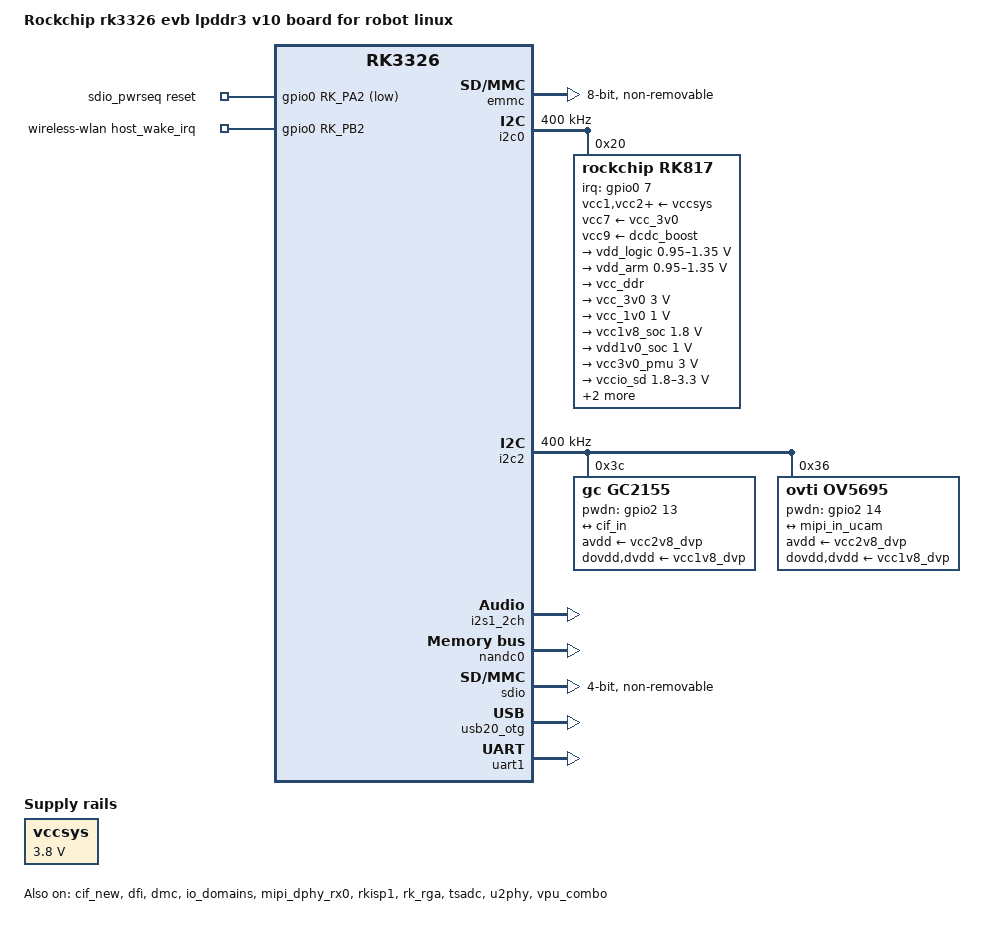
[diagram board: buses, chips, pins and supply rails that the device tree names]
// SPDX-License-Identifier: (GPL-2.0+ OR MIT)
/*
 * Copyright (c) 2018 Fuzhou Rockchip Electronics Co., Ltd
 */

/dts-v1/;
#include <dt-bindings/gpio/gpio.h>
#include <dt-bindings/pinctrl/rockchip.h>
#include "px30-robot-no-gpu.dtsi"

/ {
	model = "Rockchip rk3326 evb lpddr3 v10 board for robot linux";
	compatible = "rockchip,rk3326-evb-lp3-v10-robot-linux", "rockchip,rk3326";

	rk817-sound {
		compatible = "simple-audio-card";
		simple-audio-card,format = "i2s";
		simple-audio-card,name = "rockchip,rk817-codec";
		simple-audio-card,mclk-fs = <256>;
		simple-audio-card,cpu {
			sound-dai = <&i2s1_2ch>;
		};
		simple-audio-card,codec {
			sound-dai = <&rk817_codec>;
		};
	};

	sdio_pwrseq: sdio-pwrseq {
		compatible = "mmc-pwrseq-simple";
		/*clocks = <&rk817 1>;*/
		/*clock-names = "ext_clock";*/
		pinctrl-names = "default";
		pinctrl-0 = <&wifi_enable_h>;

		/*
		 * On the module itself this is one of these (depending
		 * on the actual card populated):
		 * - SDIO_RESET_L_WL_REG_ON
		 * - PDN (power down when low)
		 */
		reset-gpios = <&gpio0 RK_PA2 GPIO_ACTIVE_LOW>; /* GPIO3_A4 */
	};

	vccsys: vccsys {
		compatible = "regulator-fixed";
		regulator-name = "vcc3v8_sys";
		regulator-always-on;
		regulator-boot-on;
		regulator-min-microvolt = <3800000>;
		regulator-max-microvolt = <3800000>;
	};

	wireless-wlan {
		compatible = "wlan-platdata";
		wifi_chip_type = "AP6210";
		WIFI,host_wake_irq = <&gpio0 RK_PB2 GPIO_ACTIVE_HIGH>;
		status = "okay";
	};
};

&bus_apll {
	bus-supply = <&vdd_logic>;
	status = "okay";
};

&cif_new {
	status = "okay";

	port {
		cif_in: endpoint {
			remote-endpoint = <&gc2155_out>;
			vsync-active = <0>;
			hsync-active = <1>;
		};
	};
};

&cpu0 {
	cpu-supply = <&vdd_arm>;
};

&dfi {
	status = "okay";
};

&dmc {
	center-supply = <&vdd_logic>;
	status = "okay";
};

&emmc {
	bus-width = <8>;
	cap-mmc-highspeed;
	mmc-hs200-1_8v;
	supports-emmc;
	disable-wp;
	non-removable;
	num-slots = <1>;
	status = "okay";
};

&i2c0 {
	status = "okay";
	clock-frequency = <400000>;
	i2c-scl-rising-time-ns = <280>;
	i2c-scl-falling-time-ns = <16>;

	rk817: pmic@20 {
		compatible = "rockchip,rk817";
		reg = <0x20>;
		interrupt-parent = <&gpio0>;
		interrupts = <7 IRQ_TYPE_LEVEL_LOW>;
		pinctrl-names = "default", "pmic-sleep",
				"pmic-power-off", "pmic-reset";
		pinctrl-0 = <&pmic_int>;
		pinctrl-1 = <&soc_slppin_slp>, <&rk817_slppin_slp>;
		pinctrl-2 = <&soc_slppin_gpio>, <&rk817_slppin_pwrdn>;
		pinctrl-3 = <&soc_slppin_rst>, <&rk817_slppin_rst>;
		rockchip,system-power-controller;
		wakeup-source;
		#clock-cells = <1>;
		clock-output-names = "rk808-clkout1", "rk808-clkout2";
		//fb-inner-reg-idxs = <2>;
		/* 1: rst regs (default in codes), 0: rst the pmic */
		pmic-reset-func = <1>;

		vcc1-supply = <&vccsys>;
		vcc2-supply = <&vccsys>;
		vcc3-supply = <&vccsys>;
		vcc4-supply = <&vccsys>;
		vcc5-supply = <&vccsys>;
		vcc6-supply = <&vccsys>;
		vcc7-supply = <&vcc_3v0>;
		vcc8-supply = <&vccsys>;
		vcc9-supply = <&dcdc_boost>;

		pwrkey {
			status = "okay";
		};

		pinctrl_rk8xx: pinctrl_rk8xx {
			gpio-controller;
			#gpio-cells = <2>;

			rk817_ts_gpio1: rk817_ts_gpio1 {
				pins = "gpio_ts";
				function = "pin_fun1";
				/* output-low; */
				/* input-enable; */
			};

			rk817_gt_gpio2: rk817_gt_gpio2 {
				pins = "gpio_gt";
				function = "pin_fun1";
			};

			rk817_pin_ts: rk817_pin_ts {
				pins = "gpio_ts";
				function = "pin_fun0";
			};

			rk817_pin_gt: rk817_pin_gt {
				pins = "gpio_gt";
				function = "pin_fun0";
			};

			rk817_slppin_null: rk817_slppin_null {
				pins = "gpio_slp";
				function = "pin_fun0";
			};

			rk817_slppin_slp: rk817_slppin_slp {
				pins = "gpio_slp";
				function = "pin_fun1";
			};

			rk817_slppin_pwrdn: rk817_slppin_pwrdn {
				pins = "gpio_slp";
				function = "pin_fun2";
			};

			rk817_slppin_rst: rk817_slppin_rst {
				pins = "gpio_slp";
				function = "pin_fun3";
			};
		};

		regulators {
			vdd_logic: DCDC_REG1 {
				regulator-always-on;
				regulator-boot-on;
				regulator-min-microvolt = <950000>;
				regulator-max-microvolt = <1350000>;
				regulator-ramp-delay = <6001>;
				regulator-initial-mode = <0x2>;
				regulator-name = "vdd_logic";
				regulator-state-mem {
					regulator-on-in-suspend;
					regulator-suspend-microvolt = <950000>;
				};
			};

			vdd_arm: DCDC_REG2 {
				regulator-always-on;
				regulator-boot-on;
				regulator-min-microvolt = <950000>;
				regulator-max-microvolt = <1350000>;
				regulator-ramp-delay = <6001>;
				regulator-initial-mode = <0x2>;
				regulator-name = "vdd_arm";
				regulator-state-mem {
					regulator-off-in-suspend;
					regulator-suspend-microvolt = <950000>;
				};
			};

			vcc_ddr: DCDC_REG3 {
				regulator-always-on;
				regulator-boot-on;
				regulator-initial-mode = <0x2>;
				regulator-name = "vcc_ddr";
				regulator-state-mem {
					regulator-on-in-suspend;
				};
			};

			vcc_3v0: DCDC_REG4 {
				regulator-always-on;
				regulator-boot-on;
				regulator-min-microvolt = <3000000>;
				regulator-max-microvolt = <3000000>;
				regulator-initial-mode = <0x2>;
				regulator-name = "vcc_3v0";
				regulator-state-mem {
					regulator-off-in-suspend;
					regulator-suspend-microvolt = <3000000>;
				};
			};

			vcc_1v0: LDO_REG1 {
				regulator-always-on;
				regulator-boot-on;
				regulator-min-microvolt = <1000000>;
				regulator-max-microvolt = <1000000>;
				regulator-name = "vcc_1v0";
				regulator-state-mem {
					regulator-on-in-suspend;
					regulator-suspend-microvolt = <1000000>;
				};
			};

			vcc1v8_soc: LDO_REG2 {
				regulator-always-on;
				regulator-boot-on;
				regulator-min-microvolt = <1800000>;
				regulator-max-microvolt = <1800000>;

				regulator-name = "vcc1v8_soc";
				regulator-state-mem {
					regulator-on-in-suspend;
					regulator-suspend-microvolt = <1800000>;
				};
			};

			vdd1v0_soc: LDO_REG3 {
				regulator-always-on;
				regulator-boot-on;
				regulator-min-microvolt = <1000000>;
				regulator-max-microvolt = <1000000>;

				regulator-name = "vcc1v0_soc";
				regulator-state-mem {
					regulator-on-in-suspend;
					regulator-suspend-microvolt = <1000000>;
				};
			};

			vcc3v0_pmu: LDO_REG4 {
				regulator-always-on;
				regulator-boot-on;
				regulator-min-microvolt = <3000000>;
				regulator-max-microvolt = <3000000>;

				regulator-name = "vcc3v0_pmu";
				regulator-state-mem {
					regulator-on-in-suspend;
					regulator-suspend-microvolt = <3000000>;

				};
			};

			vccio_sd: LDO_REG5 {
				regulator-always-on;
				regulator-boot-on;
				regulator-min-microvolt = <1800000>;
				regulator-max-microvolt = <3300000>;

				regulator-name = "vccio_sd";
				regulator-state-mem {
					regulator-on-in-suspend;
					regulator-suspend-microvolt = <3300000>;
				};
			};

			vcc_sd: LDO_REG6 {
				regulator-min-microvolt = <3300000>;
				regulator-max-microvolt = <3300000>;

				regulator-name = "vcc_sd";
				regulator-state-mem {
					regulator-on-in-suspend;
					regulator-suspend-microvolt = <3300000>;

				};
			};

			vcc2v8_dvp: LDO_REG7 {
				regulator-min-microvolt = <2800000>;
				regulator-max-microvolt = <2800000>;

				regulator-name = "vcc2v8_dvp";
				regulator-state-mem {
					regulator-off-in-suspend;
					regulator-suspend-microvolt = <2800000>;
				};
			};

			vcc1v8_dvp: LDO_REG8 {
				regulator-min-microvolt = <1800000>;
				regulator-max-microvolt = <1800000>;

				regulator-name = "vcc1v8_dvp";
				regulator-state-mem {
					regulator-on-in-suspend;
					regulator-suspend-microvolt = <1800000>;
				};
			};

			vdd1v5_dvp: LDO_REG9 {
				regulator-min-microvolt = <1500000>;
				regulator-max-microvolt = <1500000>;

				regulator-name = "vdd1v5_dvp";
				regulator-state-mem {
					regulator-off-in-suspend;
					regulator-suspend-microvolt = <1500000>;
				};
			};

			dcdc_boost: BOOST {
				regulator-always-on;
				regulator-boot-on;
				regulator-min-microvolt = <4700000>;
				regulator-max-microvolt = <5400000>;
				regulator-name = "boost";
			};

			otg_switch: OTG_SWITCH {
				regulator-boot-on;
				regulator-name = "otg_switch";
			};
		};

		battery {
			compatible = "rk817,battery";
			ocv_table = <3500 3625 3685 3697 3718 3735 3748
			3760 3774 3788 3802 3816 3834 3853
			3877 3908 3946 3975 4018 4071 4106>;
			design_capacity = <2500>;
			design_qmax = <2750>;
			bat_res = <100>;
			sleep_enter_current = <300>;
			sleep_exit_current = <300>;
			sleep_filter_current = <100>;
			power_off_thresd = <3500>;
			zero_algorithm_vol = <3850>;
			max_soc_offset = <60>;
			monitor_sec = <5>;
			sample_res = <10>;
			virtual_power = <1>;
		};

		charger {
			compatible = "rk817,charger";
			min_input_voltage = <4500>;
			max_input_current = <1500>;
			max_chrg_current = <2000>;
			max_chrg_voltage = <4200>;
			chrg_term_mode = <0>;
			chrg_finish_cur = <300>;
			virtual_power = <0>;
			dc_det_adc = <0>;
			extcon = <&u2phy>;
		};

		rk817_codec: codec {
			#sound-dai-cells = <0>;
			compatible = "rockchip,rk817-codec";
			clocks = <&cru SCLK_I2S1_OUT>;
			clock-names = "mclk";
			pinctrl-names = "default";
			pinctrl-0 = <&i2s1_2ch_mclk>;
			hp-volume = <20>;
			spk-volume = <3>;
			status = "okay";
		};
	};
};

&i2c2 {
	status = "okay";
	clock-frequency = <400000>;

	/* 24M mclk is shared for multiple cameras */
	pinctrl-0 = <&i2c2_xfer &cif_clkout_m0>;

	/* These are relatively safe rise/fall times; TODO: measure */
	i2c-scl-falling-time-ns = <50>;
	i2c-scl-rising-time-ns = <300>;

	gc2155: gc2155@3c {
		compatible = "gc,gc2155";
		reg = <0x3c>;
		pinctrl-names = "default";
		pinctrl-0 = <&cif_pin_m0>;

		clocks = <&cru SCLK_CIF_OUT>;
		clock-names = "xvclk";

		avdd-supply = <&vcc2v8_dvp>;
		dovdd-supply = <&vcc1v8_dvp>;
		dvdd-supply = <&vcc1v8_dvp>;

		/* hw changed the pwdn to gpio2_b5 */
		pwdn-gpios = <&gpio2 13 GPIO_ACTIVE_HIGH>;

		port {
			gc2155_out: endpoint {
				remote-endpoint = <&cif_in>;
			};
		};
	};

	ov5695: ov5695@36 {
		compatible = "ovti,ov5695";
		reg = <0x36>;

		clocks = <&cru SCLK_CIF_OUT>;
		clock-names = "xvclk";

		avdd-supply = <&vcc2v8_dvp>;
		dovdd-supply = <&vcc1v8_dvp>;
		dvdd-supply = <&vcc1v8_dvp>;

		/*reset-gpios = <&gpio2 14 GPIO_ACTIVE_HIGH>;*/
		pwdn-gpios = <&gpio2 14 GPIO_ACTIVE_HIGH>;

		port {
			ucam_out: endpoint {
				remote-endpoint = <&mipi_in_ucam>;
				data-lanes = <1 2>;
			};
		};
	};
};

&i2s1_2ch {
	status = "okay";
	#sound-dai-cells = <0>;
};

&io_domains {
	status = "okay";

	vccio1-supply = <&vcc1v8_soc>;
	vccio2-supply = <&vccio_sd>;
	vccio3-supply = <&vcc1v8_dvp>;
	vccio4-supply = <&vcc1v8_soc>;
	vccio5-supply = <&vcc_3v0>;
};

&isp_mmu {
	status = "okay";
};

&mipi_dphy_rx0 {
	status = "okay";

	ports {
		#address-cells = <1>;
		#size-cells = <0>;

		port@0 {
			reg = <0>;
			#address-cells = <1>;
			#size-cells = <0>;

			mipi_in_ucam: endpoint@1 {
				reg = <1>;
				remote-endpoint = <&ucam_out>;
				data-lanes = <1 2>;
			};
		};

		port@1 {
			reg = <1>;
			#address-cells = <1>;
			#size-cells = <0>;

			dphy_rx0_out: endpoint@0 {
				reg = <0>;
				remote-endpoint = <&isp0_mipi_in>;
			};
		};
	};
};

&nandc0 {
	status = "okay";
};

&rkisp1 {
	status = "okay";

	port {
		#address-cells = <1>;
		#size-cells = <0>;

		isp0_mipi_in: endpoint@0 {
			reg = <0>;
			remote-endpoint = <&dphy_rx0_out>;
		};
	};
};

&pmu_io_domains {
	status = "okay";

	pmuio1-supply = <&vcc3v0_pmu>;
	pmuio2-supply = <&vcc3v0_pmu>;
};

&rk_rga {
	status = "okay";
};

&sdmmc {
	bus-width = <4>;
	cap-mmc-highspeed;
	cap-sd-highspeed;
	supports-sd;
	card-detect-delay = <800>;
	ignore-pm-notify;
	/*cd-gpios = <&gpio2 4 GPIO_ACTIVE_HIGH>; [> CD GPIO <]*/
	sd-uhs-sdr12;
	sd-uhs-sdr25;
	sd-uhs-sdr50;
	sd-uhs-sdr104;
	vqmmc-supply = <&vccio_sd>;
	vmmc-supply = <&vcc_sd>;
	status = "disabled";
};

&sdio {
	bus-width = <4>;
	cap-sd-highspeed;
	supports-sdio;
	ignore-pm-notify;
	keep-power-in-suspend;
	non-removable;
	mmc-pwrseq = <&sdio_pwrseq>;
	sd-uhs-sdr104;
	status = "okay";
};

&tsadc {
	pinctrl-names = "init", "default";
	pinctrl-0 = <&tsadc_otp_gpio>;
	pinctrl-1 = <&tsadc_otp_out>;
	status = "okay";
};

&u2phy {
	status = "okay";

	u2phy_host: host-port {
		status = "okay";
	};

	u2phy_otg: otg-port {
		status = "okay";
	};
};

&usb20_otg {
	status = "okay";
};

&uart1 {
	pinctrl-names = "default";
	pinctrl-0 = <&uart1_xfer &uart1_cts>;
	status = "okay";
};

&vip_mmu {
	status = "okay";
};

&vpu_combo {
	status = "okay";
};

&pinctrl {
	cif-pin-m0 {
		cif_pin_m0: cif-pin-m0 {
			rockchip,pins =
				<2 RK_PA0 RK_FUNC_1 &pcfg_pull_none>,/* cif_data2 */
				<2 RK_PA1 RK_FUNC_1 &pcfg_pull_none>,/* cif_data3 */
				<2 RK_PA2 RK_FUNC_1 &pcfg_pull_none>,/* cif_data4 */
				<2 RK_PA3 RK_FUNC_1 &pcfg_pull_none>,/* cif_data5 */
				<2 RK_PA4 RK_FUNC_1 &pcfg_pull_none>,/* cif_data6 */
				<2 RK_PA5 RK_FUNC_1 &pcfg_pull_none>,/* cif_data7 */
				<2 RK_PA6 RK_FUNC_1 &pcfg_pull_none>,/* cif_data8 */
				<2 RK_PA7 RK_FUNC_1 &pcfg_pull_none>,/* cif_data9 */
				<2 RK_PB0 RK_FUNC_1 &pcfg_pull_none>,/* cif_sync */
				<2 RK_PB1 RK_FUNC_1 &pcfg_pull_none>,/* cif_href */
				<2 RK_PB2 RK_FUNC_1 &pcfg_pull_none>;/* cif_clkin */
		};
	};

	pmic {
		pmic_int: pmic_int {
			rockchip,pins =
				<0 RK_PA7 RK_FUNC_GPIO &pcfg_pull_up>;
		};

		soc_slppin_gpio: soc_slppin_gpio {
			rockchip,pins =
				<0 RK_PA4 RK_FUNC_GPIO &pcfg_output_low>;
		};

		soc_slppin_slp: soc_slppin_slp {
			rockchip,pins =
				<0 RK_PA4 RK_FUNC_1 &pcfg_pull_none>;
		};

		soc_slppin_rst: soc_slppin_rst {
			rockchip,pins =
				<0 RK_PA4 RK_FUNC_2 &pcfg_pull_none>;
		};
	};

	sdio-pwrseq {
		wifi_enable_h: wifi-enable-h {
			rockchip,pins = <0 RK_PA2 RK_FUNC_GPIO &pcfg_pull_none>;
		};
	};
};

/* DON'T PUT ANYTHING BELOW HERE.  PUT IT ABOVE PINCTRL */
/* DON'T PUT ANYTHING BELOW HERE.  PUT IT ABOVE PINCTRL */
/* DON'T PUT ANYTHING BELOW HERE.  PUT IT ABOVE PINCTRL */
